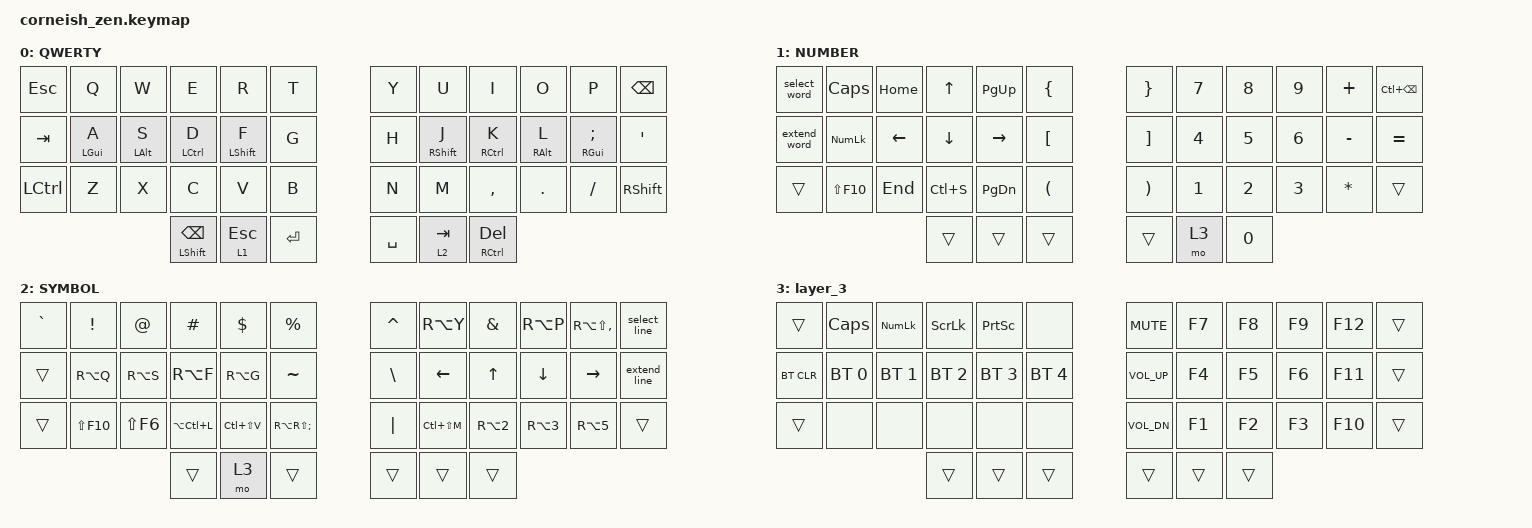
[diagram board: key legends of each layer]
/*
*
* Copyright (c) 2021 Darryl deHaan
* SPDX-License-Identifier: MIT
*
*/

#include <behaviors.dtsi>
#include <dt-bindings/zmk/bt.h>
#include <dt-bindings/zmk/keys.h>

#define SELECT_WORD_DELAY 1
#define _HOME LC(LEFT)
#define _END LC(RIGHT)

/ {
    behaviors {
        // For the "layer" key, it'd nice to be able to use it as either a shift or a toggle.
        // Configure it as a tap dance, so the first tap (or hold) is a &mo and the second tap is a &to

        hm: homerow_mods {
            compatible = "zmk,behavior-hold-tap";
            #binding-cells = <2>;
            tapping-term-ms = <250>;
            flavor = "tap-preferred";
            bindings = <&kp>, <&kp>;
        };

        shm: shift_hr_mod {
            compatible = "zmk,behavior-hold-tap";
            #binding-cells = <2>;
            tapping-term-ms = <170>;
            flavor = "balanced";
            quick-tap-ms = <200>;
            bindings = <&kp>, <&kp>;

            label = "Shift HR Mod";
        };
    };

    combos {
        compatible = "zmk,combos";

        Minus {
            bindings = <&kp MINUS>;
            key-positions = <16 15>;
        };

        Underscore {
            bindings = <&kp UNDERSCORE>;
            key-positions = <19 20>;
        };

        LeftBrace {
            bindings = <&kp LEFT_BRACE>;
            key-positions = <5 4>;
        };

        LeftBracket {
            bindings = <&kp LEFT_BRACKET>;
            key-positions = <16 17>;
        };

        LeftParenthesis {
            bindings = <&kp LEFT_PARENTHESIS>;
            key-positions = <28 29>;
        };

        RightBrace {
            bindings = <&kp RIGHT_BRACE>;
            key-positions = <6 7>;
        };

        RightBracket {
            bindings = <&kp RIGHT_BRACKET>;
            key-positions = <18 19>;
        };

        RightParenthesis {
            bindings = <&kp RIGHT_PARENTHESIS>;
            key-positions = <30 31>;
        };

        DoubleQuotes {
            bindings = <&kp DOUBLE_QUOTES>;
            key-positions = <28 27>;
        };

        Quote {
            bindings = <&kp SINGLE_QUOTE>;
            key-positions = <31 32>;
        };

        equal {
            bindings = <&kp EQUAL>;
            key-positions = <22 23>;
        };

        Word-Delete {
            bindings = <&kp LC(DEL)>;
            key-positions = <11 23>;
        };

        WordBackspace {
            bindings = <&kp LC(BACKSPACE)>;
            key-positions = <0 12>;
        };

        selectline {
            bindings = <&select_line>;
            key-positions = <36 37>;
        };

        selectword {
            bindings = <&select_word>;
            key-positions = <40 41>;
        };

        capsword {
            bindings = <&caps_word>;
            key-positions = <16 19>;
        };
    };

    keymap {
        compatible = "zmk,keymap";

        default_layer {
            display-name = "QWERTY";

            // --------------------------------------------------------------------------------
            // | ESC  |  Q  |  W  |  E  |  R  |  T  |   |  Y  |  U   |  I  |  O  |  P  |  |   |
            // | TAB  |  A  |  S  |  D* |  F* |  G  |   |  H  |  J*  |  K* |  L  |  ;  |  '   |
            // | CTRL |  Z* |  X* |  C  |  V  |  B  |   |  N  |  M   |  ,* |  .* |  /  | EQUAL|
            //                    |BKSP |LWR* |ENT* |   | SPC | RSE* |DEL* |

            bindings = <
&kp ESC    &kp Q           &kp W           &kp E                     &kp R          &kp T         &kp Y      &kp U         &kp I          &kp O            &kp P                    &kp BSPC
&kp TAB    &hm LEFT_GUI A  &hm LEFT_ALT S  &hm LEFT_CONTROL D        &shm LSHIFT F  &kp G         &kp H      &shm RSHFT J  &hm RCTRL K    &hm RIGHT_ALT L  &hm RIGHT_GUI SEMICOLON  &kp SQT
&kp LCTRL  &kp Z           &kp X           &kp C                     &kp V          &kp B         &kp N      &kp M         &kp COMMA      &kp DOT          &kp SLASH                &kp RSHFT
                                           &hm LEFT_SHIFT BACKSPACE  &lt 1 ESC      &kp RETURN    &kp SPACE  &lt 2 TAB     &hm RCTRL DEL
            >;
        };

        lower_layer {
            display-name = "NUMBER";

            // Lower
            //  ,-----------------------------------------------------.                    ,-----------------------------------------------------.
            //  |    ▼   | CAPSLCK|  Home  |   ↑    |   Pg↑  |   {    |                    |    }   |   7    |   8    |   9    |   +    |  Del   |
            //  |--------+--------+--------+--------+--------+--------|                    |--------+--------+--------+--------+--------+--------|
            //  |    ▼   | NUMLCK |   ←    │   ↓    │    →   |   [    |                    |    ]   |   4    |   5    |   6    |   -    |   =    |
            //  |--------+--------+--------+--------+--------+--------|                    |--------+--------+--------+--------+--------+--------|
            //  |    ▼   |        |  End   |  SAVE  |   Pg↓  |   (    |                    |    )   |   1    |   2    |   3    |   *    |   ▼    |
            //  `--------+--------+--------+--------+--------+--------+--------.  .--------+--------+--------+--------+--------+--------+--------'
            //                                      |    ▼   |   ▼    |    ▼   |  |   -    | Adjust |   0    |
            //                                      `--------------------------'  `--------------------------'

            bindings = <
&select_word  &kp CAPSLOCK    &kp HOME  &kp UP     &kp PG_UP      &kp LBRC    &kp RBRC  &kp N7  &kp N8  &kp N9  &kp PLUS      &kp LC(BSPC)
&extend_word  &kp KP_NUMLOCK  &kp LEFT  &kp DOWN   &kp RIGHT      &kp LBKT    &kp RBKT  &kp N4  &kp N5  &kp N6  &kp MINUS     &kp EQUAL
&trans        &kp LS(F10)     &kp END   &kp LC(S)  &kp PAGE_DOWN  &kp LPAR    &kp RPAR  &kp N1  &kp N2  &kp N3  &kp ASTERISK  &trans
                                        &trans     &trans         &trans      &trans    &mo 3   &kp N0
            >;
        };

        raise_layer {
            display-name = "SYMBOL";

            // Raise
            //  ,-----------------------------------------------------.                    ,-----------------------------------------------------.
            //  |   ~    |    !   |   @    |   #    |   $    |   %    |                    |    ^   │    Ü   │    &   │    Ö   │    °   │   Del  |
            //  |--------+--------+--------+--------+--------+--------|                    |--------+--------+--------+--------+--------+--------|
            //  |        │    Ä   │   SZ   │   è    │   é    │    ç   │                    │    /   │    £   │    €   │        │    µ   │        |
            //  |--------+--------+--------+--------+--------+--------|                    |--------+--------+--------+--------+--------+--------|
            //  |        │        │        │        │        │        │                    │    |   │        │    ²   │   ³    │        │        │
            //  `--------+--------+--------+--------+--------+--------+--------.  .--------+--------+--------+--------+--------+--------+--------'
            //                                      |        │ ADJUST │    -   │  │    ▼   │    ▼   │    ▼   │
            //                                      `--------------------------'  `--------------------------'

            bindings = <
&kp GRAVE  &kp EXCL     &kp AT      &kp HASH       &kp DLLR       &kp PRCNT                &kp CARET  &kp RA(Y)       &kp AMPS      &kp RA(P)       &kp RA(LS(COMMA))  &select_line
&trans     &kp RA(Q)    &kp RA(S)   &kp RA(F)      &kp RA(G)      &kp TILDE                &kp BSLH   &kp LEFT_ARROW  &kp UP_ARROW  &kp DOWN_ARROW  &kp RIGHT_ARROW    &extend_line
&trans     &kp LS(F10)  &kp LS(F6)  &kp LA(LC(L))  &kp LC(LS(V))  &kp RA(RS(SEMICOLON))    &kp PIPE   &kp LC(LS(M))   &kp RA(N2)    &kp RA(N3)      &kp RA(NUMBER_5)   &trans
                                    &trans         &mo 3          &trans                   &trans     &trans          &trans
            >;
        };

        // Adjust
        //  ,-----------------------------------------------------.                    ,-----------------------------------------------------.
        //  | Reset  |        |        |        |        | Print  |                    |  MUTE  |   F7   |   F8   |   F9   |  F12   |   ▼    |
        //  |--------+--------+--------+--------+--------+--------|                    |--------+--------+--------+--------+--------+--------|
        //  | BT CLR |  BT 0  |  BT 1  |  BT 2  |  BT 3  |  BT 4  |                    |  VOL↑  |   F4   |   F5   |   F6   |  F11   |   ▼    |
        //  |--------+--------+--------+--------+--------+--------|                    |--------+--------+--------+--------+--------+--------|
        //  |        |        |  Next  |  Play  |  Prv   |        |                    |  VOL↓  |   F1   |   F2   |   F3   |  F10   |   ▼    |
        //  `--------+--------+--------+--------+--------+--------+--------.  .--------+--------+--------+--------+--------+--------+--------'
        //                                      │    ▼   │    ▼   │    ▼   │  │    ▼   │    ▼   │    ▼   │
        //                                      `--------------------------'  `--------------------------'

        layer_3 {
            bindings = <
&trans      &kp CAPSLOCK  &kp KP_NUMLOCK  &kp SCROLLLOCK  &kp PSCRN     &none           &kp C_MUTE    &kp F7  &kp F8  &kp F9  &kp F12  &trans
&bt BT_CLR  &bt BT_SEL 0  &bt BT_SEL 1    &bt BT_SEL 2    &bt BT_SEL 3  &bt BT_SEL 4    &kp C_VOL_UP  &kp F4  &kp F5  &kp F6  &kp F11  &trans
&trans      &none         &none           &none           &none         &none           &kp C_VOL_DN  &kp F1  &kp F2  &kp F3  &kp F10  &trans
                                          &trans          &trans        &trans          &trans        &trans  &trans
            >;
        };
    };

    macros {
        // source: https://github.com/sunaku/glove80-keymaps/blob/f22a249a16d83a808eba6dd3e2133c6eae206ea6/keymap.dtsi.erb#L1075-L1080
        //////////////////////////////////////////////////////////////////////////
        //
        // Approximation of Pascal Getreuer's Select Word macro from QMK
        // - https://getreuer.info/posts/keyboards/select-word/index.html
        //
        //////////////////////////////////////////////////////////////////////////
        //
        // SELECT_WORD_DELAY defines how long the macro waits (milliseconds)
        // after moving the cursor before it selects a word.  A larger delay
        // may allow the macro to move to the next word upon each invocation.
        //

        #ifndef SELECT_WORD_DELAY
        #define SELECT_WORD_DELAY 1
        #endif

        ZMK_MACRO(select_none,

        wait-ms = <SELECT_WORD_DELAY>;
        tap-ms = <SELECT_WORD_DELAY>;
        bindings = <&kp DOWN &kp UP &kp RIGHT &kp LEFT>;

        )

        //
        // select a word (jumps to next word upon each successive invocation)
        //

        select_word: select_word {
            compatible = "zmk,behavior-mod-morph";
            #binding-cells = <0>;
            bindings = <&select_word_right>, <&select_word_left>;

            mods = <(MOD_LSFT|MOD_RSFT)>;
        };

        ZMK_MACRO(

        select_word_right,
        wait-ms = <SELECT_WORD_DELAY>;
        tap-ms = <SELECT_WORD_DELAY>;
        bindings = <&kp LC(RIGHT) &kp LC(LEFT) &kp LC(LS(RIGHT))>;

        )

        ZMK_MACRO(

        select_word_left,
        wait-ms = <SELECT_WORD_DELAY>;
        tap-ms = <SELECT_WORD_DELAY>;
        bindings = <&kp LC(LEFT) &kp LC(RIGHT) &kp LC(LS(LEFT))>;

        )

        //
        // extend current selection by one word
        //

        extend_word: extend_word {
            compatible = "zmk,behavior-mod-morph";
            #binding-cells = <0>;
            bindings = <&extend_word_right>, <&extend_word_left>;

            mods = <(MOD_LSFT|MOD_RSFT)>;
        };

        ZMK_MACRO(

        extend_word_right,
        wait-ms = <SELECT_WORD_DELAY>;
        tap-ms = <SELECT_WORD_DELAY>;
        bindings = <&kp LC(LS(RIGHT))>;

        )
        ZMK_MACRO(

        extend_word_left,
        wait-ms = <SELECT_WORD_DELAY>;
        tap-ms = <SELECT_WORD_DELAY>;
        bindings = <&kp LC(LS(LEFT))>;

        )

        //
        // select current line
        //

        select_line: select_line {
            compatible = "zmk,behavior-mod-morph";
            #binding-cells = <0>;
            bindings = <&select_line_right>, <&select_line_left>;

            mods = <(MOD_LSFT|MOD_RSFT)>;
        };

        ZMK_MACRO(

        select_line_right,
        wait-ms = <SELECT_WORD_DELAY>;
        tap-ms = <SELECT_WORD_DELAY>;
        bindings = <&kp _HOME &kp LS(_END)>;

        )

        ZMK_MACRO(

        select_line_left,
        wait-ms = <SELECT_WORD_DELAY>;
        tap-ms = <SELECT_WORD_DELAY>;
        bindings = <&kp _END &kp LS(_HOME)>;

        )

        //
        // extend current selection by one line
        //

        extend_line: extend_line {
            compatible = "zmk,behavior-mod-morph";
            #binding-cells = <0>;
            bindings = <&extend_line_right>, <&extend_line_left>;

            mods = <(MOD_LSFT|MOD_RSFT)>;
        };

        new_behavior: new_behavior {
            compatible = "zmk,behavior-hold-tap";
            #binding-cells = <2>;
            tapping-term-ms = <170>;
            flavor = "tap-preferred";
            quick-tap-ms = <200>;
            bindings = <&kp>, <&kp>;

            label = "NEW_BEHAVIOR";
        };

        ZMK_MACRO(

        extend_line_right,
        wait-ms = <SELECT_WORD_DELAY>;
        tap-ms = <SELECT_WORD_DELAY>;
        bindings = <&kp LS(DOWN) &kp LS(_END)>;

        )
        ZMK_MACRO(

        extend_line_left,
        wait-ms = <SELECT_WORD_DELAY>;
        tap-ms = <SELECT_WORD_DELAY>;
        bindings = <&kp LS(UP) &kp LS(_HOME)>;

        )
    };
};
